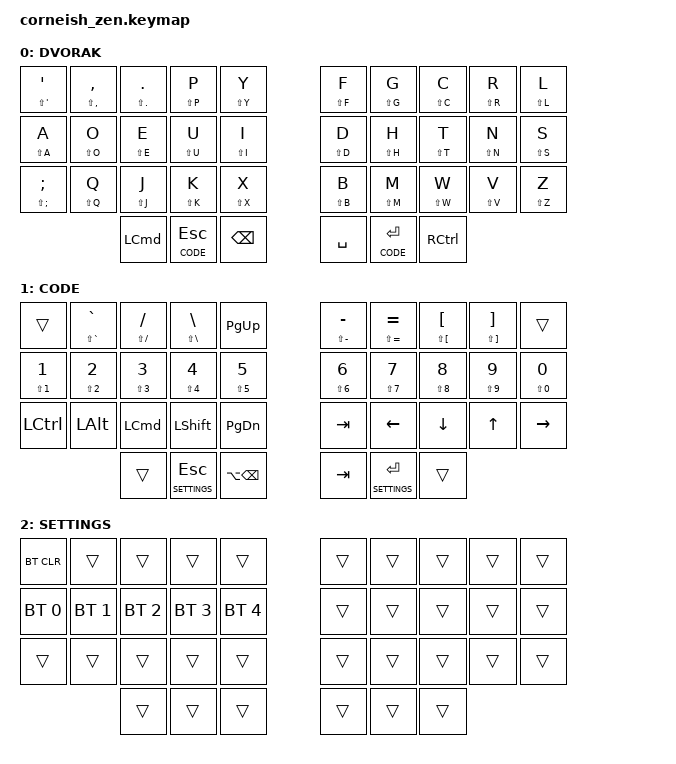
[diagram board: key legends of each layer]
#include <behaviors.dtsi>
#include <dt-bindings/zmk/keys.h>
#include <dt-bindings/zmk/bt.h>

#define DEFAULT  0
#define CODE     1
#define SETTINGS 2

/**
## Overview
This keymap contains a few innovations over the standard corne-ish zen.
It is based losely on Dvorak, with layer 0 closely resembling standard dvorak.
Space and backspace are under the right and left thumb respectively, mirroring their effect on the cursor.
On layer 1 space and backspace become tab and alt return, 
which I think of like word-sized equivalents of space and backspaces.
I rely heavily on space cadet shift which doubles our available symbols without doubling layers.

It was tricky to get the modifier keys to play nicely with space cadet shift.
The organization of the first and second layer are very intentional.
For example, the tab key is available in two positions on the second layer.
The position on the third row allows us to command tab with (left thumb->cmd) (right thumb->layer 1) (right index->tab).
I put numbers on the home row and rearranged symbols like [{ and }] for better availability while coding.
Modifier keys do not work with hs so I use kp for those.

Layer 2 is intentionally difficult to get to accidentally.
It requires holding down both layer keys.
I use it for zmk settings only, like bluetooth connection functions. 

In the keymap the layers are number in the order they are defined: 0, 1, 2, ...
Each key definition starts with & followed by a function.
spaces between keys are ignored.
The keymap language is just C I think.

## Glossary
- &hs: defined by us for hold_for_shift, emit the first key if held, emit the second if pressed,
       see zmk hold-tap behavior docs for details
- &kp: a single key either pressed or held
- &lt: change layer if held, emit the second if pressed
- LA: left alt modifier, used to turn backspace into delete word
- LS: shift modifier, this doesn't show up in most keymaps but we need it for our hs behavior
**/ 

/ {
  chosen {
    //zmk,matrix_transform = &default_transform;
    zmk,matrix_transform = &five_column_transform;
  };
};

/ {
    behaviors {
    hs: hold_for_shift {
        compatible = "zmk,behavior-hold-tap";
        label = "HOLD_FOR_SHIFT";
        #binding-cells = <2>;
        flavor = "tap-preferred";
        tapping-term-ms = <150>;
        quick-tap-ms = <0>;
        bindings = <&kp>, <&kp>;
    };

    };
    keymap {
        compatible = "zmk,keymap";

        default_layer {
                label = "DVORAK";
                bindings = <
                        &hs LS(SQT) SQT    &hs LS(COMMA) COMMA  &hs LS(DOT) DOT  &hs LS(P) P   &hs LS(Y) Y         &hs LS(F) F  &hs LS(G) G   &hs LS(C) C  &hs LS(R) R  &hs LS(L) L
                        &hs LS(A) A        &hs LS(O) O          &hs LS(E) E      &hs LS(U) U   &hs LS(I) I         &hs LS(D) D  &hs LS(H) H   &hs LS(T) T  &hs LS(N) N  &hs LS(S) S
                        &hs LS(SEMI) SEMI  &hs LS(Q) Q          &hs LS(J) J      &hs LS(K) K   &hs LS(X) X         &hs LS(B) B  &hs LS(M) M   &hs LS(W) W  &hs LS(V) V  &hs LS(Z) Z
                                                                &kp LCMD         &lt CODE ESC  &kp BSPC            &kp SPACE    &lt CODE RET  &kp RCTRL
                >;
        };
        code_layer {
                label = "CODE";
                bindings = <
                        &trans         &hs LS(GRAVE) GRAVE    &hs LS(FSLH) FSLH    &hs LS(BSLH) BSLH    &kp PG_UP           &hs LS(MINUS) MINUS    &hs LS(EQUAL) EQUAL    &hs LS(LBKT) LBKT    &hs LS(RBKT) RBKT    &trans
                        &hs LS(N1) N1  &hs LS(N2) N2          &hs LS(N3) N3        &hs LS(N4) N4        &hs LS(N5) N5       &hs LS(N6) N6          &hs LS(N7) N7          &hs LS(N8) N8        &hs LS(N9) N9        &hs LS(N0) N0
                        &kp LCTRL      &kp LALT               &kp LCMD             &kp LSHFT            &kp PG_DN           &kp TAB                &kp LEFT               &kp DOWN             &kp UP               &kp RIGHT
                  	                                         &trans               &lt SETTINGS ESC     &kp LA(BSPC)        &kp TAB                &lt SETTINGS RET       &trans
                >;
        };
        settings_layer {
                label = "SETTINGS";
                bindings = <
                        &bt BT_CLR     &trans         &trans         &trans         &trans              &trans    &trans    &trans    &trans    &trans
                        &bt BT_SEL 0   &bt BT_SEL 1   &bt BT_SEL 2   &bt BT_SEL 3   &bt BT_SEL 4        &trans    &trans    &trans    &trans    &trans
                        &trans         &trans         &trans         &trans         &trans              &trans    &trans    &trans    &trans    &trans
                                                      &trans         &trans         &trans              &trans    &trans    &trans
                >;
        };
    };
};
